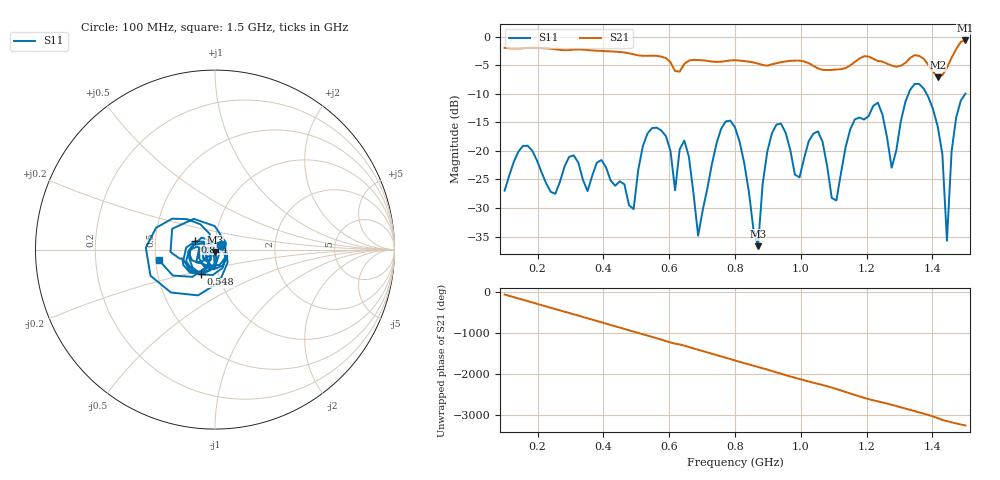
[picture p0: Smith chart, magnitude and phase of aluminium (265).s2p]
! NanoVNA-App
! Date: 2025-09-25 14:57:20
! Start: 100MHz Stop: 1,5GHz Points: 101
! S-Parameter data: F S11 S21 S12 S22
# Hz S RI R 50
!  Frequency  S11_Real  S11_Imag  S21_Real  S21_Imag  S12_Real  S12_Imag  S22_Real  S22_Imag
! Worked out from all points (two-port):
!   101 points, 100 MHz to 1.5 GHz, reference 50 ohm
!   highest |S21| = -0.62 dB at 1.5 GHz (marker M1); lowest = -7.1 dB at 1.416 GHz (marker M2)
!   |S21| within 3 dB of the highest: start of sweep to 585.7 MHz; 1.458 GHz to end of sweep (the widest 2 of 4)
!   lowest |S11| = -36.7 dB at 870 MHz (marker M3), VSWR 1.03, Z = 49.9 - j1.45 ohm
!   |S11| at or under -10 dB: start of sweep to 1.327 GHz; 1.382 GHz to 1.499 GHz (117.1 MHz wide, 8.13 % of centre)
!   S12 and S22 are empty: the file has one direction only
!   S11 on the Smith chart (normalised r, x): 100 MHz: 1.07, +0.06; 548 MHz: 0.82, -0.23; 814 MHz: 0.80, +0.07; 1.5 GHz: 0.52, -0.07
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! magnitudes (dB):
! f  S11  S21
! 100 MHz  -27.0  -1.9
! 338 MHz  -25.1  -2.2
! 492 MHz  -30.2  -3.1
! 548 MHz  -16.0  -3.3
! 576 MHz  -16.4  -3.5
! 618 MHz  -26.9  -6.0
! 646 MHz  -18.2  -4.7
! 688 MHz  -34.8  -4.1
! 800 MHz  -15.9  -4.1
! 814 MHz  -18.4  -4.2
! 870 MHz  -36.7  -4.7
! 912 MHz  -16.9  -4.8
! 996 MHz  -24.6  -4.2
! 1.038 GHz  -17.0  -5.1
! 1.108 GHz  -28.7  -5.7
! 1.234 GHz  -11.5  -4.2
! 1.276 GHz  -22.9  -5.0
! 1.346 GHz  -8.2  -3.2
! 1.416 GHz  -15.7  -7.1
! 1.444 GHz  -35.7  -5.4
! 1.458 GHz  -20.1  -3.7
! 1.5 GHz  -9.9  -0.6
